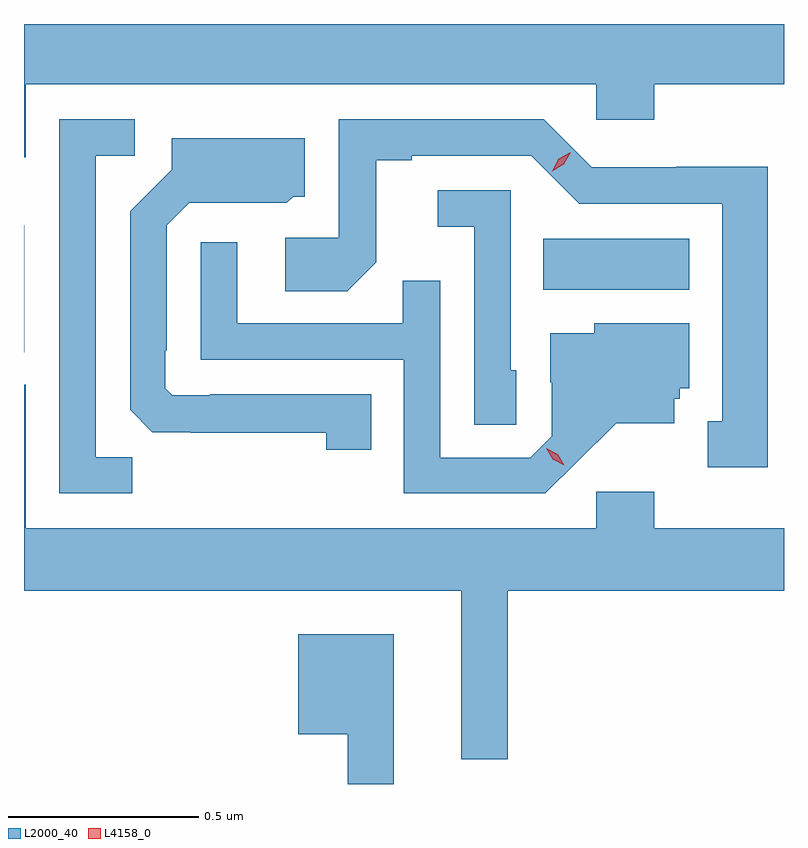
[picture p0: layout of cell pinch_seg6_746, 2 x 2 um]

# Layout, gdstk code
import gdstk
lib = gdstk.Library(unit=1e-6, precision=1e-09)
def R(c, l, rs):  # rectangles x0, y0, x1, y1
    for r in rs: c.add(gdstk.rectangle(r[:2], r[2:], *l))
def P(c, l, *ps):  # polygons
    for p in ps: c.add(gdstk.Polygon(p, *l))
L2000_40 = (2000, 40)
L4158_0 = (4158, 0)

pinch_seg6_746 = lib.new_cell('pinch_seg6_746')
R(pinch_seg6_746, L2000_40, [(616.41,943.967,616.411,944.302), (617.776,944.132,618.16,944.266)])
P(pinch_seg6_746, L2000_40, [(616.414,944.672),(617.916,944.672),(617.916,944.579),(618.068,944.579),(618.068,944.672),(618.41,944.672),(618.41,944.831),(616.41,944.831),(616.41,944.48),(616.414,944.48)],
  [(618.367,944.456),(618.126,944.456),(618.126,944.454),(617.904,944.454),(617.778,944.58),(617.238,944.58),(617.238,944.268),(617.097,944.268),(617.097,944.128),(617.261,944.128),(617.337,944.204),(617.337,944.472),(617.431,944.472),(617.431,944.484),(617.745,944.484),(617.871,944.358),(618.248,944.358),(618.248,943.785),(618.209,943.785),(618.209,943.665),(618.367,943.665)],
  [(616.695,943.691),(616.599,943.691),(616.599,944.484),(616.702,944.484),(616.702,944.58),(616.503,944.58),(616.503,943.596),(616.695,943.596)],
  [(617.324,943.857),(616.9,943.857),(616.9,943.854),(616.8,943.854),(616.782,943.872),(616.782,943.972),(616.785,943.972),(616.785,944.301),(616.845,944.361),(616.968,944.361),(616.968,944.36),(617.102,944.36),(617.118,944.376),(617.149,944.376),(617.149,944.53),(616.799,944.53),(616.799,944.448),(616.689,944.338),(616.689,943.816),(616.748,943.757),(616.849,943.757),(616.849,943.756),(617.206,943.756),(617.206,943.71),(617.324,943.71)],
  [(617.706,943.92),(617.691,943.92),(617.691,944.394),(617.499,944.394),(617.499,944.297),(617.595,944.297),(617.595,943.777),(617.706,943.777)],
  [(617.866,943.679),(617.969,943.781),(618.121,943.781),(618.121,943.845),(618.135,943.845),(618.135,943.872),(618.16,943.872),(618.16,944.044),(617.91,944.044),(617.91,944.017),(617.795,944.017),(617.795,943.888),(617.799,943.888),(617.799,943.746),(617.742,943.689),(617.505,943.689),(617.505,944.156),(617.407,944.156),(617.407,944.043),(616.971,944.043),(616.971,944.257),(616.875,944.257),(616.875,943.947),(617.409,943.947),(617.409,943.596),(617.782,943.596)],
  [(617.683,943.34),(618.41,943.34),(618.41,943.504),(618.068,943.504),(618.068,943.6),(617.916,943.6),(617.916,943.504),(616.414,943.504),(616.414,943.882),(616.41,943.882),(616.41,943.34),(617.561,943.34),(617.561,942.896),(617.683,942.896)],
  [(617.383,943.225),(617.132,943.225),(617.132,942.962),(617.262,942.962),(617.262,942.831),(617.383,942.831)])
P(pinch_seg6_746, L4158_0, [(617.8,944.443),(617.8,944.443),(617.817,944.476),(617.849,944.494),(617.849,944.494),(617.849,944.494),(617.831,944.462),(617.8,944.443)],
  [(617.832,943.67),(617.801,943.685),(617.784,943.714),(617.784,943.715),(617.784,943.715),(617.815,943.699),(617.832,943.67),(617.832,943.67)])

lib.write_gds('pinch_seg6_746.gds')
